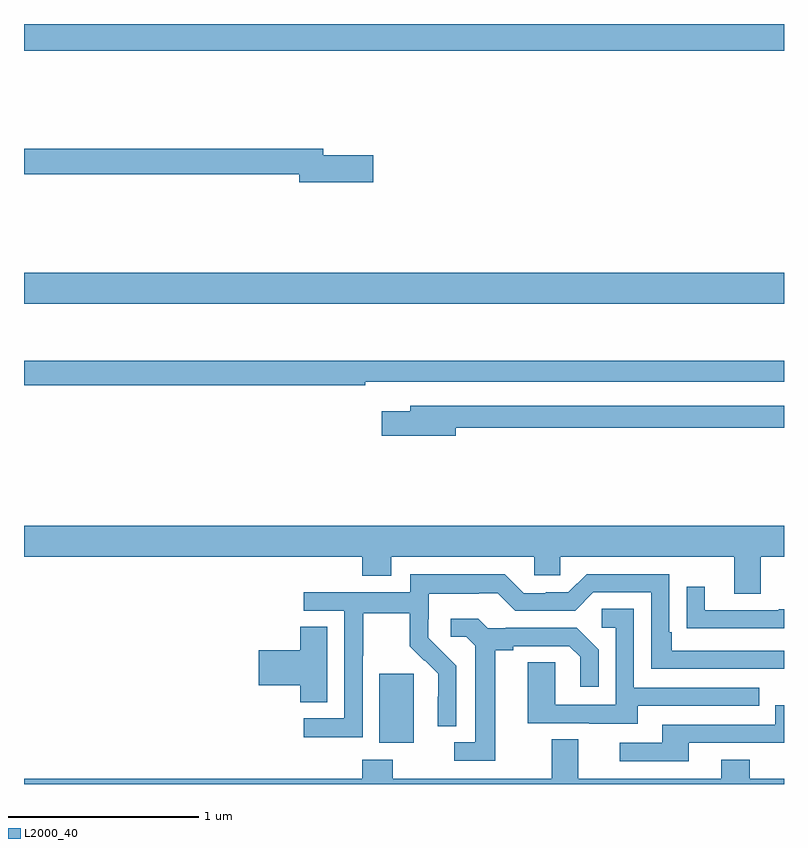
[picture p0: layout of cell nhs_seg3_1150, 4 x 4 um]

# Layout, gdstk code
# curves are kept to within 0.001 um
import gdstk
lib = gdstk.Library(unit=1e-6, precision=1e-09)
def R(c, l, rs):  # rectangles x0, y0, x1, y1
    for r in rs: c.add(gdstk.rectangle(r[:2], r[2:], *l))
def P(c, l, *ps):  # polygons
    for p in ps: c.add(gdstk.Polygon(p, *l))
L2000_40 = (2000, 40)

nhs_seg3_1150 = lib.new_cell('nhs_seg3_1150')
R(nhs_seg3_1150, L2000_40, [(172.871,686.618,173.05,686.979), (171,688.928,175,689.092), (171,690.26,175,690.4)])
P(nhs_seg3_1150, L2000_40, [(172.837,689.708),(172.576,689.708),(172.576,689.744),(171,689.744),(171,689.608),(172.448,689.608),(172.448,689.566),(172.837,689.566)],
  [(172.796,688.518),(175,688.518),(175,688.627),(171,688.627),(171,688.498),(172.796,688.498)],
  [(173.272,688.276),(175,688.276),(175,688.392),(173.033,688.392),(173.033,688.363),(172.884,688.363),(172.884,688.234),(173.272,688.234)],
  [(174.877,687.596),(175,687.596),(175,687.76),(171,687.76),(171,687.596),(172.781,687.596),(172.781,687.497),(172.933,687.497),(172.933,687.596),(173.685,687.596),(173.685,687.498),(173.823,687.498),(173.823,687.596),(174.737,687.596),(174.737,687.402),(174.877,687.402)],
  [(172.782,687.076),(172.785,687.076),(172.785,687.3),(173.029,687.3),(173.029,687.125),(173.106,687.048),(173.109,687.051),(173.18,686.981),(173.18,686.858),(173.178,686.858),(173.178,686.704),(173.274,686.704),(173.274,687.022),(173.128,687.17),(173.128,687.267),(173.13,687.267),(173.13,687.401),(173.393,687.401),(173.393,687.405),(173.493,687.405),(173.586,687.312),(173.901,687.312),(173.997,687.408),(174.3,687.408),(174.3,687.006),(175,687.006),(175,687.102),(174.409,687.102),(174.409,687.199),(174.396,687.199),(174.396,687.504),(173.961,687.504),(173.865,687.408),(173.747,687.408),(173.747,687.405),(173.631,687.405),(173.531,687.505),(173.034,687.505),(173.034,687.408),(172.473,687.408),(172.473,687.312),(172.686,687.312),(172.686,686.745),(172.473,686.745),(172.473,686.647),(172.782,686.647)],
  [(175,687.32),(174.973,687.32),(174.973,687.315),(174.583,687.315),(174.583,687.439),(174.487,687.439),(174.487,687.22),(174.589,687.22),(174.589,687.219),(175,687.219)],
  [(174.229,686.811),(174.869,686.811),(174.869,686.907),(174.21,686.907),(174.21,687.323),(174.042,687.323),(174.042,687.222),(174.114,687.222),(174.114,686.817),(173.796,686.817),(173.796,687.041),(173.651,687.041),(173.651,686.721),(173.975,686.721),(173.975,686.717),(174.229,686.717)],
  [(173.479,687.104),(173.575,687.104),(173.575,687.126),(173.87,687.126),(173.927,687.069),(173.927,686.913),(174.024,686.913),(174.024,687.106),(173.908,687.222),(173.536,687.222),(173.536,687.219),(173.442,687.219),(173.39,687.271),(173.247,687.271),(173.247,687.174),(173.328,687.174),(173.375,687.127),(173.375,686.619),(173.265,686.619),(173.265,686.523),(173.479,686.523)],
  [(172.597,687.227),(172.454,687.227),(172.454,687.104),(172.236,687.104),(172.236,686.921),(172.454,686.921),(172.454,686.83),(172.597,686.83)],
  [(174.499,686.616),(175,686.616),(175,686.815),(174.954,686.815),(174.954,686.712),(174.359,686.712),(174.359,686.616),(174.135,686.616),(174.135,686.52),(174.499,686.52)],
  [(175,686.428),(174.819,686.428),(174.819,686.527),(174.671,686.527),(174.671,686.428),(173.917,686.428),(173.917,686.636),(173.777,686.636),(173.777,686.428),(172.941,686.428),(172.941,686.527),(172.781,686.527),(172.781,686.428),(171,686.428),(171,686.4),(175,686.4)])

lib.write_gds('nhs_seg3_1150.gds')
